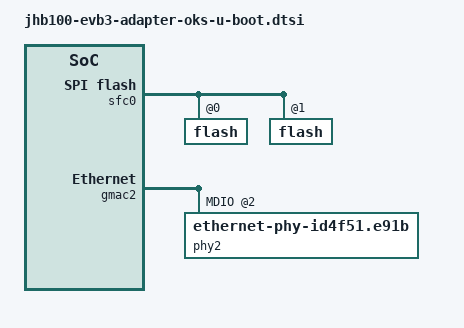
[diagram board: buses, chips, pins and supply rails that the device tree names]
// SPDX-License-Identifier: GPL-2.0 OR MIT
/*
 * Copyright (c) 2021-2022 StarFive Technology Co., Ltd.
 */

#include "jhb100-u-boot.dtsi"

&uart6 {
	status = "disabled";
};

&uart9 {
	bootph-pre-ram;
	bootph-some-ram;
	dlf-size = <6>;
	/delete-property/ clock-frequency;
	/delete-property/ resets;
	/delete-property/ dmas;
};

&sfc0 {
	bootph-pre-ram;
	spi-max-frequency = <5000000>;
	rx-sample-delay-ns = <0>;
	/delete-property/ resets;
	/delete-property/ dmas;

	flash@0 {
		spi-tx-bus-width = <4>;
		spi-rx-bus-width = <4>;
		/delete-node/ partitions;
	};

	flash@1 {
		spi-tx-bus-width = <4>;
		spi-rx-bus-width = <4>;
		/delete-node/ partitions;
	};
};

&pinctrl_sys2 {
	uart9_pins: uart9-grp {
		bootph-pre-ram;
		bootph-some-ram;

		uart9_tx-pins {
			bootph-pre-ram;
			bootph-some-ram;
		};

		uart9_rx-pins {
			bootph-pre-ram;
			bootph-some-ram;
		};
	};
};

&gmac2 {
	bootph-pre-ram;
	/delete-property/ assigned-clock-parents;
	assigned-clocks = <&per2crg JHB100_PER2CLK_GMAC2_RX_MUX_DLY>,
			  <&per2crg JHB100_PER2CLK_GMAC2_TX_MUX>,
			  <&per2crg JHB100_PER2CLK_GMAC2_TXCK_MUX_DLY>;
	assigned-clock-parents = <&per2crg JHB100_PER2CLK_GMAC2_RGMII_125_MUX>,
				 <&per2crg JHB100_PER2CLK_GMAC2_RGMII_DIV>,
				 <&per2crg JHB100_PER2CLK_GMAC2_TX_MUX>;
	mdio {
		bootph-pre-ram;
		phy2: ethernet-phy@2 {
			compatible = "ethernet-phy-id4f51.e91b";
			bootph-pre-ram;
		};
	};
};

/delete-node/ &npu_reserved_cache;
/delete-node/ &npu_reserved_uncache;
